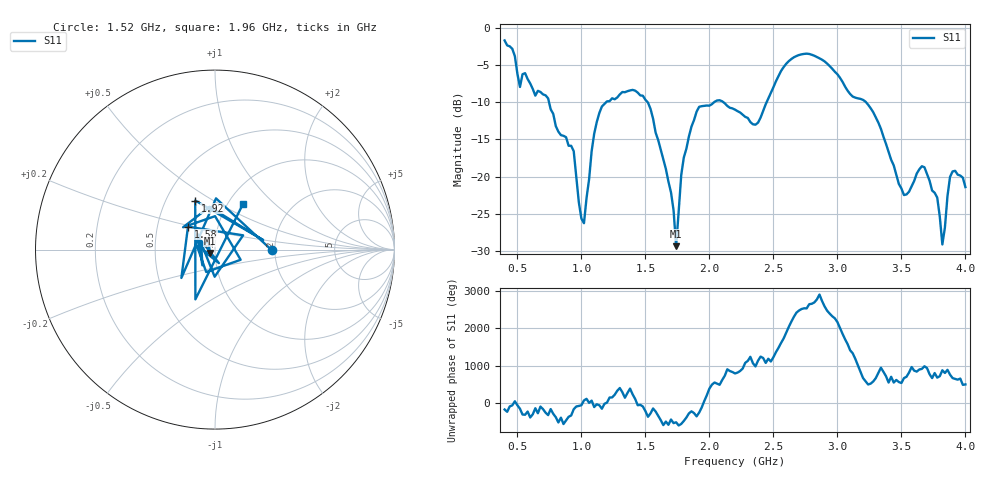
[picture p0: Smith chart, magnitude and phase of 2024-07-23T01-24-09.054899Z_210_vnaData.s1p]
!Created with skrf (http://scikit-rf.org).
# Hz S RI R 50.0
!freq ReS11 ImS11
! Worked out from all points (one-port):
!   181 points, 400 MHz to 4 GHz, reference 50 ohm
!   lowest |S11| = -29.4 dB at 1.74 GHz (marker M1), VSWR 1.07, Z = 47.2 - j1.75 ohm
!   |S11| at or under -10 dB: 747.2 MHz to 1.192 GHz (445.1 MHz wide, 45.9 % of centre); 1.518 GHz to 2.036 GHz (517.6 MHz wide, 29.1 % of centre); 3.224 GHz to end of sweep (the widest 3 of 4)
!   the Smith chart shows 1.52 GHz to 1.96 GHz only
!   S11 on the Smith chart (normalised r, x): 1.52 GHz: 1.92, -0.01; 1.58 GHz: 0.72, +0.19; 1.92 GHz: 0.70, +0.42; 1.96 GHz: 1.17, +0.66
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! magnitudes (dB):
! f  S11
! 400 MHz  -1.7
! 520 MHz  -7.9
! 720 MHz  -9.1
! 860 MHz  -14.5
! 940 MHz  -16.6
! 1.02 GHz  -26.3
! 1.12 GHz  -12.7
! 1.3 GHz  -8.9
! 1.52 GHz  -10.0
! 1.58 GHz  -14.1
! 1.7 GHz  -22.1
! 1.74 GHz  -29.4
! 1.76 GHz  -24.7
! 1.8 GHz  -17.4
! 1.92 GHz  -10.6
! 1.96 GHz  -10.5
! 2.2 GHz  -11.0
! 2.38 GHz  -12.7
! 2.66 GHz  -3.9
! 2.88 GHz  -4.3
! 3.1 GHz  -8.9
! 3.28 GHz  -11.3
! 3.56 GHz  -22.0
! 3.68 GHz  -18.8
! 3.78 GHz  -22.8
! 3.82 GHz  -29.2
! 3.88 GHz  -20.0
! 4 GHz  -21.4
